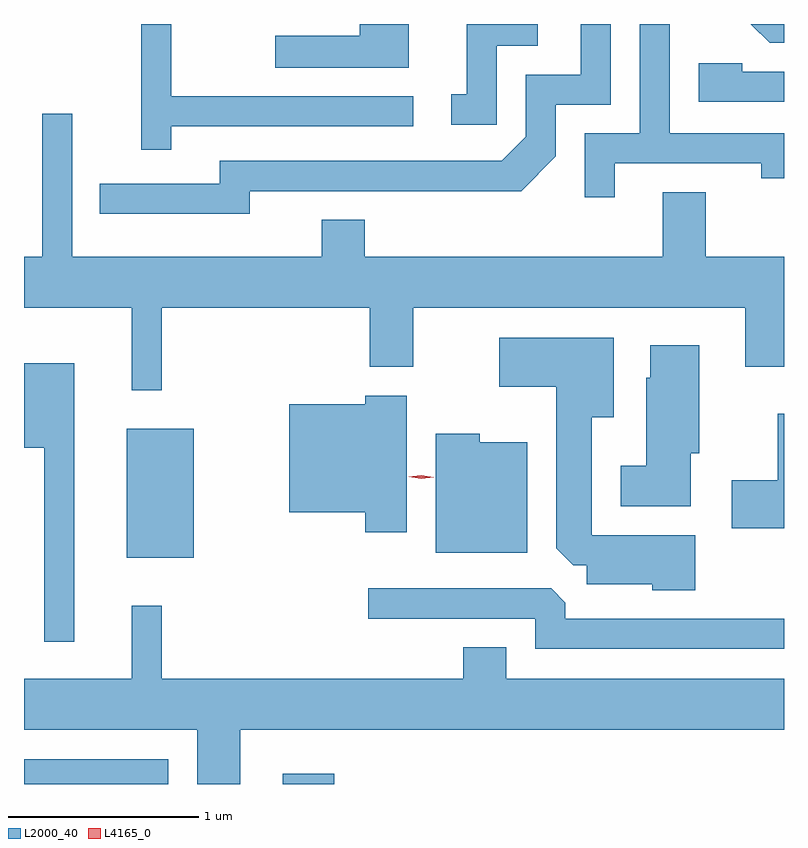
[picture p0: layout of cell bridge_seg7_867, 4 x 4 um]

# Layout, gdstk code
import gdstk
lib = gdstk.Library(unit=1e-6, precision=1e-09)
def R(c, l, rs):  # rectangles x0, y0, x1, y1
    for r in rs: c.add(gdstk.rectangle(r[:2], r[2:], *l))
def P(c, l, *ps):  # polygons
    for p in ps: c.add(gdstk.Polygon(p, *l))
L2000_40 = (2000, 40)
L4165_0 = (4165, 0)

bridge_seg7_867 = lib.new_cell('bridge_seg7_867')
R(bridge_seg7_867, L2000_40, [(210.54,1689.61,211.299,1689.739), (211.903,1689.61,212.174,1689.664), (211.081,1690.801,211.434,1691.479)])
P(bridge_seg7_867, L2000_40, [(213.029,1693.496),(213.244,1693.496),(213.244,1693.61),(212.871,1693.61),(212.871,1693.239),(212.788,1693.239),(212.788,1693.081),(213.029,1693.081)],
  [(211.729,1692.731),(213.157,1692.731),(213.339,1692.914),(213.339,1693.186),(213.629,1693.186),(213.629,1693.61),(213.471,1693.61),(213.471,1693.344),(213.181,1693.344),(213.181,1693.017),(213.054,1692.889),(211.571,1692.889),(211.571,1692.769),(210.938,1692.769),(210.938,1692.611),(211.729,1692.611)],
  [(214.54,1693.61),(214.365,1693.61),(214.464,1693.511),(214.54,1693.511)],
  [(212.564,1693.61),(212.306,1693.61),(212.306,1693.549),(211.863,1693.549),(211.863,1693.381),(212.564,1693.381)],
  [(211.314,1693.071),(212.588,1693.071),(212.588,1693.229),(211.314,1693.229),(211.314,1693.61),(211.156,1693.61),(211.156,1692.948),(211.314,1692.948)],
  [(213.649,1692.876),(214.421,1692.876),(214.421,1692.798),(214.54,1692.798),(214.54,1693.034),(213.939,1693.034),(213.939,1693.61),(213.781,1693.61),(213.781,1693.034),(213.491,1693.034),(213.491,1692.698),(213.649,1692.698)],
  [(214.54,1693.359),(214.319,1693.359),(214.319,1693.404),(214.091,1693.404),(214.091,1693.201),(214.54,1693.201)],
  [(211.264,1692.116),(212.361,1692.116),(212.361,1691.806),(212.589,1691.806),(212.589,1692.116),(214.336,1692.116),(214.336,1691.806),(214.54,1691.806),(214.54,1692.384),(214.129,1692.384),(214.129,1692.724),(213.901,1692.724),(213.901,1692.384),(212.334,1692.384),(212.334,1692.579),(212.106,1692.579),(212.106,1692.384),(210.794,1692.384),(210.794,1693.138),(210.636,1693.138),(210.636,1692.384),(210.54,1692.384),(210.54,1692.116),(211.106,1692.116),(211.106,1691.683),(211.264,1691.683)],
  [(214.074,1690.919),(213.529,1690.919),(213.529,1691.541),(213.644,1691.541),(213.644,1691.959),(213.041,1691.959),(213.041,1691.701),(213.341,1691.701),(213.341,1690.852),(213.432,1690.761),(213.501,1690.761),(213.501,1690.661),(213.846,1690.661),(213.846,1690.631),(214.074,1690.631)],
  [(214.049,1691.351),(214.094,1691.351),(214.094,1691.919),(213.836,1691.919),(213.836,1691.749),(213.816,1691.749),(213.816,1691.284),(213.681,1691.284),(213.681,1691.071),(214.049,1691.071)],
  [(210.804,1691.824),(210.54,1691.824),(210.54,1691.381),(210.646,1691.381),(210.646,1690.358),(210.804,1690.358)],
  [(212.554,1691.654),(212.336,1691.654),(212.336,1691.609),(211.936,1691.609),(211.936,1691.041),(212.336,1691.041),(212.336,1690.936),(212.554,1690.936)],
  [(214.54,1691.559),(214.506,1691.559),(214.506,1691.209),(214.266,1691.209),(214.266,1690.956),(214.54,1690.956)],
  [(213.189,1691.409),(212.939,1691.409),(212.939,1691.454),(212.706,1691.454),(212.706,1690.826),(213.189,1690.826)],
  [(214.54,1690.479),(213.389,1690.479),(213.389,1690.564),(213.314,1690.639),(212.353,1690.639),(212.353,1690.481),(213.231,1690.481),(213.231,1690.321),(214.54,1690.321)],
  [(211.679,1689.896),(214.54,1689.896),(214.54,1690.164),(213.079,1690.164),(213.079,1690.329),(212.851,1690.329),(212.851,1690.164),(211.264,1690.164),(211.264,1690.548),(211.106,1690.548),(211.106,1690.164),(210.54,1690.164),(210.54,1689.896),(211.451,1689.896),(211.451,1689.61),(211.679,1689.61)])
P(bridge_seg7_867, L4165_0, [(212.63,1691.216),(212.564,1691.227),(212.563,1691.227),(212.564,1691.228),(212.63,1691.236),(212.696,1691.225),(212.697,1691.225),(212.696,1691.224)])

lib.write_gds('bridge_seg7_867.gds')
